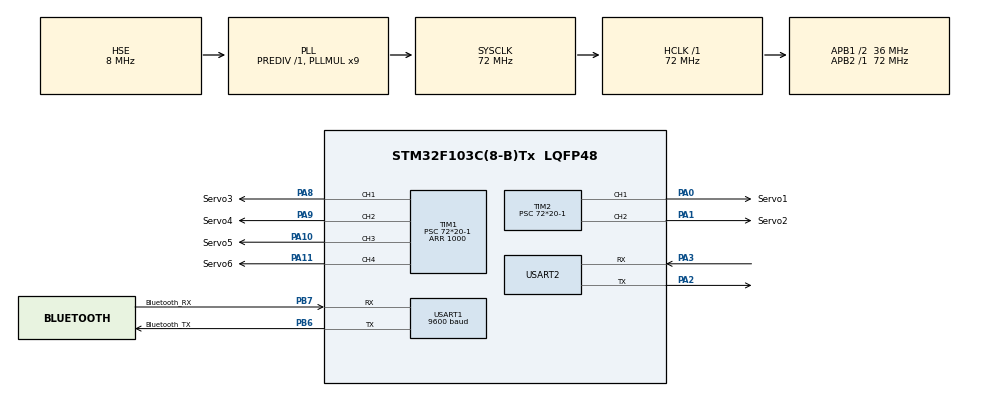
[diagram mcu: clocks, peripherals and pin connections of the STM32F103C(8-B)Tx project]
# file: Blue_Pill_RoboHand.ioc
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Mcu.Family=STM32F1
Mcu.Name=STM32F103C(8-B)Tx
Mcu.Package=LQFP48
NVIC.PriorityGroup=NVIC_PRIORITYGROUP_4
NVIC.TIM1_BRK_IRQn=true\:0\:0\:false\:false\:true\:true\:true\:true
NVIC.TIM1_CC_IRQn=true\:0\:0\:false\:false\:true\:true\:true\:true
NVIC.TIM1_TRG_COM_IRQn=true\:0\:0\:false\:false\:true\:true\:true\:true
NVIC.TIM1_UP_IRQn=true\:0\:0\:false\:false\:true\:true\:true\:true
NVIC.TIM2_IRQn=true\:0\:0\:false\:false\:true\:true\:true\:true
NVIC.TIM3_IRQn=true\:0\:0\:false\:false\:true\:true\:true\:true
NVIC.USART1_IRQn=true\:0\:0\:false\:false\:true\:true\:true\:true
PA0-WKUP.GPIO_Label=Servo1
PA0-WKUP.GPIO_Speed=GPIO_SPEED_FREQ_HIGH
PA0-WKUP.Signal=S_TIM2_CH1_ETR
PA1.GPIO_Label=Servo2
PA1.GPIO_Speed=GPIO_SPEED_FREQ_HIGH
PA1.Signal=S_TIM2_CH2
PA10.GPIO_Label=Servo5
PA10.GPIO_Speed=GPIO_SPEED_FREQ_HIGH
PA10.Signal=S_TIM1_CH3
PA11.GPIO_Label=Servo6
PA11.GPIO_Speed=GPIO_SPEED_FREQ_HIGH
PA11.Signal=S_TIM1_CH4
PA13.Mode=Serial_Wire
PA13.Signal=SYS_JTMS-SWDIO
PA14.Mode=Serial_Wire
PA14.Signal=SYS_JTCK-SWCLK
PA2.Mode=Asynchronous
PA2.Signal=USART2_TX
PA3.Mode=Asynchronous
PA3.Signal=USART2_RX
PA8.GPIO_Label=Servo3
PA8.GPIO_Speed=GPIO_SPEED_FREQ_HIGH
PA8.Signal=S_TIM1_CH1
PA9.GPIO_Label=Servo4
PA9.GPIO_Speed=GPIO_SPEED_FREQ_HIGH
PA9.Signal=S_TIM1_CH2
PB6.GPIO_Label=Bluetooth_TX
PB6.Mode=Asynchronous
PB6.Signal=USART1_TX
PB7.GPIO_Label=Bluetooth_RX
PB7.Mode=Asynchronous
PB7.Signal=USART1_RX
PC14-OSC32_IN.Mode=LSE-External-Oscillator
PC14-OSC32_IN.Signal=RCC_OSC32_IN
PC15-OSC32_OUT.Mode=LSE-External-Oscillator
PC15-OSC32_OUT.Signal=RCC_OSC32_OUT
PD0-OSC_IN.Mode=HSE-External-Oscillator
PD0-OSC_IN.Signal=RCC_OSC_IN
PD1-OSC_OUT.Mode=HSE-External-Oscillator
PD1-OSC_OUT.Signal=RCC_OSC_OUT
ProjectManager.HeapSize=0x200
ProjectManager.StackSize=0x400
ProjectManager.TargetToolchain=STM32CubeIDE
RCC.AHBFreq_Value=72000000
RCC.APB1CLKDivider=RCC_HCLK_DIV2
RCC.APB1Freq_Value=36000000
RCC.APB1TimFreq_Value=72000000
RCC.APB2Freq_Value=72000000
RCC.APB2TimFreq_Value=72000000
RCC.HCLKFreq_Value=72000000
RCC.PLLMUL=RCC_PLL_MUL9
RCC.PLLSourceVirtual=RCC_PLLSOURCE_HSE
RCC.SYSCLKFreq_VALUE=72000000
RCC.SYSCLKSource=RCC_SYSCLKSOURCE_PLLCLK
RCC.USBFreq_Value=72000000
SH.S_TIM1_CH1.0=TIM1_CH1,PWM Generation1 CH1
SH.S_TIM1_CH2.0=TIM1_CH2,PWM Generation2 CH2
SH.S_TIM1_CH3.0=TIM1_CH3,PWM Generation3 CH3
SH.S_TIM1_CH4.0=TIM1_CH4,PWM Generation4 CH4
SH.S_TIM2_CH1_ETR.0=TIM2_CH1,PWM Generation1 CH1
SH.S_TIM2_CH2.0=TIM2_CH2,PWM Generation2 CH2
TIM1.AutoReloadPreload=TIM_AUTORELOAD_PRELOAD_ENABLE
TIM1.Channel-PWM\ Generation1\ CH1=TIM_CHANNEL_1
TIM1.Channel-PWM\ Generation2\ CH2=TIM_CHANNEL_2
TIM1.Channel-PWM\ Generation3\ CH3=TIM_CHANNEL_3
TIM1.Channel-PWM\ Generation4\ CH4=TIM_CHANNEL_4
TIM1.OCFastMode_PWM-PWM\ Generation1\ CH1=TIM_OCFAST_ENABLE
TIM1.OCFastMode_PWM-PWM\ Generation2\ CH2=TIM_OCFAST_ENABLE
TIM1.OCFastMode_PWM-PWM\ Generation3\ CH3=TIM_OCFAST_ENABLE
TIM1.OCFastMode_PWM-PWM\ Generation4\ CH4=TIM_OCFAST_ENABLE
TIM1.Period=1000
TIM1.Prescaler=72*20-1
TIM1.Pulse-PWM\ Generation1\ CH1=500
TIM1.Pulse-PWM\ Generation2\ CH2=500
TIM1.Pulse-PWM\ Generation3\ CH3=500
TIM1.Pulse-PWM\ Generation4\ CH4=500
TIM2.AutoReloadPreload=TIM_AUTORELOAD_PRELOAD_ENABLE
TIM2.Channel-PWM\ Generation1\ CH1=TIM_CHANNEL_1
TIM2.Channel-PWM\ Generation2\ CH2=TIM_CHANNEL_2
TIM2.OCFastMode_PWM-PWM\ Generation1\ CH1=TIM_OCFAST_ENABLE
TIM2.OCFastMode_PWM-PWM\ Generation2\ CH2=TIM_OCFAST_ENABLE
TIM2.Period=1000
TIM2.Prescaler=72*20-1
TIM2.Pulse-PWM\ Generation1\ CH1=500
TIM2.Pulse-PWM\ Generation2\ CH2=500
TIM3.AutoReloadPreload=TIM_AUTORELOAD_PRELOAD_ENABLE
TIM3.ClockDivision=TIM_CLOCKDIVISION_DIV1
TIM3.Period=7200
TIM3.Prescaler=20000-1
USART1.BaudRate=9600
USART1.Mode=MODE_TX_RX
USART1.VirtualMode=VM_ASYNC
USART2.VirtualMode=VM_ASYNC
VP_TIM1_VS_ClockSourceINT.Mode=Internal
VP_TIM2_VS_ClockSourceINT.Mode=Internal
VP_TIM3_VS_ClockSourceINT.Mode=Internal
board=custom

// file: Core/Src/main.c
/* USER CODE BEGIN Header */
/**
  ******************************************************************************
  * @file           : main.c
  * @brief          : Main program body
  ******************************************************************************
  * @attention
  *
  * <h2><center>&copy; Copyright (c) 2022 STMicroelectronics.
  * All rights reserved.</center></h2>
  *
  * This software component is licensed by ST under BSD 3-Clause license,
  * the "License"; You may not use this file except in compliance with the
  * License. You may obtain a copy of the License at:
  *                        opensource.org/licenses/BSD-3-Clause
  *
  ******************************************************************************
  */
/* USER CODE END Header */
#include "main.h"

/* USER CODE BEGIN Includes */
#include "math.h"
#include <stdio.h>
/* USER CODE END Includes */

/* USER CODE BEGIN PTD */
struct angles
{
	double alpha;
	double beta;
	double delta;
	double gamma;
	double epsilon;
	double zeta;
};

struct axis
{
	double x;
	double y;
	double z;
};

struct vectors1
{
    double a1;
    double a2;
    double b1;
    double b2;
    double c1;
    double c2;
};

struct vectors2
{
    double a1;
    double a2;
    double b1;
    double b2;
};
/* USER CODE END PTD */

/* USER CODE BEGIN PD */
//                      CONSTANTS FOR CALCULATION
const double pi = 3.1415926536;
//                      CONSTANTS FOR CALCULATION ANGLES FOR FIRST CONFIGURATION
const double lever_1 = 100; // mm
const double lever_2 = 83; // mm
const double lever_3 = 170; // mm
//                      CONSTANTS FOR CALCULATION ANGLES FOR SECOND CONFIGURATION
const double lever_1_1 = lever_1 + lever_2;
const double lever_2_1 = lever_3;

//const double step_length             = 25; // mm
//const double rotate_step             = 15; // degree
const int max_angle                  = 160;
const int error_message 			 = -1;
const int minimum_smooth             = 45;

struct angles current_angles           = {103, 10, 90, 90, 2, 2};
struct axis current_axis               = {125, 0, 216};

uint8_t mode = 0; // 0-trapezoid, 1-triangle
uint8_t is_need_to_send = 0;
/* USER CODE END PD */

TIM_HandleTypeDef htim1;
TIM_HandleTypeDef htim2;
TIM_HandleTypeDef htim3;

UART_HandleTypeDef huart1;
UART_HandleTypeDef huart2;

/* USER CODE BEGIN PV */
#define BUFFER_RX_LEN  4
#define BUFFER_TX_LEN 22
uint8_t RX_BUFFER[BUFFER_RX_LEN] = {0, 0, 0, 0};
uint8_t TX_BUFFER[BUFFER_TX_LEN] = {0, 0, 0, 0, 0, 0, 0, 0, 0, 0, 0,
									0, 0, 0, 0, 0, 0, 0, 0, 0, 0, 0};
/* USER CODE END PV */

void SystemClock_Config(void);
static void MX_GPIO_Init(void);
static void MX_TIM1_Init(void);
static void MX_TIM2_Init(void);
static void MX_USART1_UART_Init(void);
static void MX_USART2_UART_Init(void);
static void MX_TIM3_Init(void);

/* USER CODE BEGIN 0 */
//                      FUNCTIONS FOR TRANSLATIING ANGLES AND VECTOR OPERATIONS
double convert_to_degree(double radians) {
    return radians * 180 / (pi);
}

double vector_scalar_multiplication(double x1, double x2, double y1, double y2) {
    return x1 * y1 + x2 * y2;
}

int pulseWidth(int angle) {
    return (int)((double)(angle)/1.8) + 25;
}

double RadToAng(double radian) {
    return radian * 180 / pi;
}

double AngToRad(double angle) {
  return angle * pi / 180;
}

void setServoAngles(struct angles ang) {
	htim2.Instance->CCR2 = pulseWidth(ang.alpha);
	htim1.Instance->CCR3 = pulseWidth(ang.beta);
	htim1.Instance->CCR2 = pulseWidth(ang.delta);
	htim1.Instance->CCR4 = pulseWidth(ang.gamma);
	htim1.Instance->CCR1 = pulseWidth(ang.epsilon);
	htim2.Instance->CCR1 = pulseWidth(ang.zeta);
}

struct angles find_angles(double x, double y, double z)
{
	struct vectors2 levers = {0, 0, 0, 0};
	struct angles rotation = {0, 0, 0, 0, 0, 0};
	double radius_xy = sqrt(pow(x, 2) + pow(y, 2));
	double radius = sqrt(pow(x, 2) + pow(y, 2) + pow(z, 2));
	rotation.beta = 7;
	if (radius_xy != 0) {
		levers.a1 = -(radius - (pow(radius, 2) + pow(lever_2_1, 2) - pow(lever_1_1, 2)) / (2 * radius));
		levers.a2 = sqrt(pow(lever_1_1, 2) - pow(levers.a1, 2));
		levers.b1 = -(pow(radius, 2) + pow(lever_2_1, 2) - pow(lever_1_1, 2)) / (2 * radius);
		levers.b2 = -(sqrt(pow(lever_2_1, 2) - pow(levers.b1, 2)));
		rotation.delta = convert_to_degree(acos(-vector_scalar_multiplication(
			levers.b1, levers.b2, levers.a1, levers.a2) / (lever_1_1 * lever_2_1)));
		rotation.alpha = convert_to_degree(acos(-levers.a1 / lever_1_1));
		if (radius_xy != 0) {
			rotation.alpha += convert_to_degree(atan(z / radius_xy));
		} else {
			rotation.alpha += 90;
		}
	}
	else {
		rotation.alpha = -1;
		rotation.beta = -1;
		rotation.delta = -1;
		rotation.zeta = -1;
	}
	return rotation;
}

struct angles find_angles_2(double x, double y, double z)
{
	struct vectors1 levers = { 0, 0, 0, 0, 0, 0 };
	    struct angles rotation = { 0, 0, 0, 0, 0, 0 };
	    double radius_xy = sqrt(pow(x, 2) + pow(y, 2));
	    double radius = sqrt(pow(x, 2) + pow(y, 2) + pow(z, 2));
	    double L = lever_2 - radius;
	    levers.a1 = -(pow(lever_3, 2) - pow(lever_1, 2) - pow(L, 2)) / (2 * L);
	    levers.a2 = sqrt(pow(lever_1, 2) - pow(levers.a1, 2));
	    levers.b1 = -lever_2;
	    levers.b2 = 0;
	    levers.c1 = -sqrt(pow(lever_3, 2) - pow(levers.a2, 2));
	    levers.c2 = -levers.a2;
	    rotation.beta = 180 - convert_to_degree(acos(-vector_scalar_multiplication(
	        levers.a1, levers.a2, levers.b1, levers.b2) / (lever_1 * lever_2)));
	    rotation.delta = convert_to_degree(acos(-vector_scalar_multiplication(
	        levers.c1, levers.c2, levers.b1, levers.b2) / (lever_2 * lever_3)));
	    rotation.alpha = convert_to_degree(acos(-levers.a1 / lever_1));
	    if (radius_xy != 0) {
			rotation.alpha += convert_to_degree(atan(z / radius_xy));
		} else {
			rotation.alpha += 90;
		}
	    return rotation;
}

// calculating angles for servos to being parallel second lever to main diagonal
struct angles calculateAngles(struct axis calculating_axis, int state)
{
	struct angles calculated_angles;
	if (!state) {
		calculated_angles = find_angles_2(calculating_axis.x, calculating_axis.y, calculating_axis.z);
		if ((!isnormal(calculated_angles.delta)) || (!isnormal(calculated_angles.beta)) ||
				(!isnormal(calculated_angles.alpha)) || (calculated_angles.alpha > 180) ||
				(calculated_angles.beta > 180) || (calculated_angles.delta > 180)) {
			calculated_angles.alpha = error_message;
			calculated_angles.beta = error_message;
			calculated_angles.delta = error_message;
		}
	} else if (state==1) {
		calculated_angles = find_angles(calculating_axis.x, calculating_axis.y, calculating_axis.z);
		if ((!isnormal(calculated_angles.delta)) || (!isnormal(calculated_angles.beta)) ||
				(!isnormal(calculated_angles.alpha)) || (calculated_angles.alpha > 180) ||
				(calculated_angles.beta > 180) || (calculated_angles.delta > 180)) {
			calculated_angles.alpha = error_message;
			calculated_angles.beta = error_message;
			calculated_angles.delta = error_message;
		}
	} else {
		calculated_angles.alpha = error_message;
		calculated_angles.beta = error_message;
		calculated_angles.delta = error_message;
	}
	if (calculating_axis.x != 0) {
		double lower_base_rotation_angle = convert_to_degree(atan(calculating_axis.y / calculating_axis.x));
		if (calculating_axis.x >= 0 && calculating_axis.y >= 0) {
			calculated_angles.zeta = lower_base_rotation_angle;
		}
		else if (calculating_axis.x < 0 && calculating_axis.y >= 0) {
			calculated_angles.zeta = 180 + lower_base_rotation_angle;
		}
		else if (calculating_axis.x < 0 && calculating_axis.y < 0) {
			calculated_angles.zeta = 180 + lower_base_rotation_angle;
		}
		else {
			calculated_angles.zeta = error_message;
		}
	}
	else {
		if (calculating_axis.y > 0) {
			calculated_angles.zeta = 90;
		}
		else if (calculating_axis.y < 0){
			calculated_angles.zeta = error_message;
		}
	}
	return calculated_angles;
}

void HAL_UART_RxCpltCallback(UART_HandleTypeDef *huart)
{
    if(huart->Instance == huart1.Instance) {
    	HAL_UART_Receive_IT(&huart1, RX_BUFFER, BUFFER_RX_LEN);
    	uint8_t must = 0;
		struct axis possible_axis = current_axis;
		struct angles possible_angles;

		double step_length = 10; double rotate_step = 10;
		if (RX_BUFFER[1]>='0' && RX_BUFFER[1]<='9' && RX_BUFFER[2]>='0' && RX_BUFFER[2]<='9' &&
				RX_BUFFER[3]>='0' && RX_BUFFER[3]<='9') {
			step_length = (int)(RX_BUFFER[1] - '0')*100 + (int)(RX_BUFFER[2] - '0')*10 + (int)(RX_BUFFER[3] - '0');
			rotate_step = (step_length/250)*180;
		}
		switch (RX_BUFFER[0]) {
			case '1':
				possible_axis.x += step_length;
				must = 1;
				break;
			case '2':
				possible_axis.x -= step_length;
				must = 1;
				break;
			case '3':
				possible_axis.y += step_length;
				must = 1;
				break;
			case '4':
				possible_axis.y -= step_length;
				must = 1;
				break;
			case '5':
				possible_axis.z += step_length;
				must = 1;
				break;
			case '6':
				possible_axis.z -= step_length;
				must = 1;
				break;
			case '7':
				if (current_angles.epsilon + rotate_step <= max_angle) {
					current_angles.epsilon += rotate_step;
				}
				break;
			case '8':
				if (current_angles.epsilon >= rotate_step) {
					current_angles.epsilon -= rotate_step;
				}
				break;
			case '9':
				if (current_angles.gamma + rotate_step <= max_angle) {
					current_angles.gamma += rotate_step;
				}
				break;
			case 'a':
				if (current_angles.gamma >= rotate_step) {
					current_angles.gamma -= rotate_step;
				}
				break;
			case '!':
				possible_axis.x = step_length;
				must = 1;
				break;
			case '@':
				possible_axis.x = -step_length;
				must = 1;
				break;
			case '#':
				possible_axis.y = step_length;
				must = 1;
				break;
			case '$':
				possible_axis.y = -step_length;
				must = 1;
				break;
			case '?':
				possible_axis.z = step_length;
				must = 1;
				break;
			case '^':
				possible_axis.z = -step_length;
				must = 1;
				break;
			case '&':
				if (step_length <= max_angle && step_length >= 0) {
					current_angles.epsilon = step_length;
				}
				break;
			case '(':
				if (step_length <= max_angle && step_length >= 0) {
					current_angles.gamma = step_length;
				}
				break;
			case 'b':
				mode = 0;
				break;
			case 'c':
				mode = 1;
				break;

		}
		if (must) {
			possible_angles = calculateAngles(possible_axis, mode);
			if ((possible_angles.alpha >= 0) && (possible_angles.beta >= 0) && (possible_angles.delta >= 0) && (possible_angles.zeta >= 0)) {
				double saved_gamma = current_angles.gamma;
				double saved_epsilon = current_angles.epsilon;
				current_axis = possible_axis;
				current_angles = possible_angles;
				current_angles.gamma = saved_gamma;
				current_angles.epsilon = saved_epsilon;
			}
		}
    }
}

void HAL_TIM_PeriodElapsedCallback(TIM_HandleTypeDef* htim) {
	if(htim->Instance == htim3.Instance) {
		is_need_to_send = 1;
	}
}

/* USER CODE END 0 */

int main(void)
{

  /* MCU Configuration--------------------------------------------------------*/

  /* Reset of all peripherals, Initializes the Flash interface and the Systick. */
  HAL_Init();

  /* Configure the system clock */
  SystemClock_Config();

  /* Initialize all configured peripherals */
  MX_GPIO_Init();
  MX_TIM1_Init();
  MX_TIM2_Init();
  MX_USART1_UART_Init();
  MX_USART2_UART_Init();
  MX_TIM3_Init();
  /* USER CODE BEGIN 2 */
  HAL_TIM_PWM_Start(&htim1,TIM_CHANNEL_1);
  HAL_TIM_PWM_Start(&htim1,TIM_CHANNEL_2);
  HAL_TIM_PWM_Start(&htim1,TIM_CHANNEL_3);
  HAL_TIM_PWM_Start(&htim1,TIM_CHANNEL_4);
  HAL_TIM_PWM_Start(&htim2,TIM_CHANNEL_1);
  HAL_TIM_PWM_Start(&htim2,TIM_CHANNEL_2);
  HAL_TIM_Base_Start_IT(&htim3);
  HAL_UART_Receive_IT(&huart1, RX_BUFFER, BUFFER_RX_LEN);
  /* USER CODE END 2 */

  /* Infinite loop */
  /* USER CODE BEGIN WHILE */
  while (1)
  {
	setServoAngles(current_angles);
	if (is_need_to_send == 1) {
		sprintf (TX_BUFFER, "%d:%d:%d:%d:%d\r\n", (int)(current_axis.x), (int)(current_axis.y),
			(int)(current_axis.z), (int)(current_angles.epsilon), (int)(current_angles.gamma));
		HAL_UART_Transmit(&huart1, TX_BUFFER, BUFFER_TX_LEN, 100);
		HAL_Delay(10);
		sprintf(TX_BUFFER, "\n");
		is_need_to_send = 0;
	}
    /* USER CODE END WHILE */

  }
}

void SystemClock_Config(void)
{
  RCC_OscInitTypeDef RCC_OscInitStruct = {0};
  RCC_ClkInitTypeDef RCC_ClkInitStruct = {0};

  /** Initializes the RCC Oscillators according to the specified parameters
  * in the RCC_OscInitTypeDef structure.
  */
  RCC_OscInitStruct.OscillatorType = RCC_OSCILLATORTYPE_HSE;
  RCC_OscInitStruct.HSEState = RCC_HSE_ON;
  RCC_OscInitStruct.HSEPredivValue = RCC_HSE_PREDIV_DIV1;
  RCC_OscInitStruct.HSIState = RCC_HSI_ON;
  RCC_OscInitStruct.PLL.PLLState = RCC_PLL_ON;
  RCC_OscInitStruct.PLL.PLLSource = RCC_PLLSOURCE_HSE;
  RCC_OscInitStruct.PLL.PLLMUL = RCC_PLL_MUL9;
  if (HAL_RCC_OscConfig(&RCC_OscInitStruct) != HAL_OK)
  {
    Error_Handler();
  }

  /** Initializes the CPU, AHB and APB buses clocks
  */
  RCC_ClkInitStruct.ClockType = RCC_CLOCKTYPE_HCLK|RCC_CLOCKTYPE_SYSCLK
                              |RCC_CLOCKTYPE_PCLK1|RCC_CLOCKTYPE_PCLK2;
  RCC_ClkInitStruct.SYSCLKSource = RCC_SYSCLKSOURCE_PLLCLK;
  RCC_ClkInitStruct.AHBCLKDivider = RCC_SYSCLK_DIV1;
  RCC_ClkInitStruct.APB1CLKDivider = RCC_HCLK_DIV2;
  RCC_ClkInitStruct.APB2CLKDivider = RCC_HCLK_DIV1;

  if (HAL_RCC_ClockConfig(&RCC_ClkInitStruct, FLASH_LATENCY_2) != HAL_OK)
  {
    Error_Handler();
  }
}

static void MX_TIM1_Init(void)
{

  TIM_ClockConfigTypeDef sClockSourceConfig = {0};
  TIM_MasterConfigTypeDef sMasterConfig = {0};
  TIM_OC_InitTypeDef sConfigOC = {0};
  TIM_BreakDeadTimeConfigTypeDef sBreakDeadTimeConfig = {0};

  htim1.Instance = TIM1;
  htim1.Init.Prescaler = 72*20-1;
  htim1.Init.CounterMode = TIM_COUNTERMODE_UP;
  htim1.Init.Period = 1000;
  htim1.Init.ClockDivision = TIM_CLOCKDIVISION_DIV1;
  htim1.Init.RepetitionCounter = 0;
  htim1.Init.AutoReloadPreload = TIM_AUTORELOAD_PRELOAD_ENABLE;
  if (HAL_TIM_Base_Init(&htim1) != HAL_OK)
  {
    Error_Handler();
  }
  sClockSourceConfig.ClockSource = TIM_CLOCKSOURCE_INTERNAL;
  if (HAL_TIM_ConfigClockSource(&htim1, &sClockSourceConfig) != HAL_OK)
  {
    Error_Handler();
  }
  if (HAL_TIM_PWM_Init(&htim1) != HAL_OK)
  {
    Error_Handler();
  }
  sMasterConfig.MasterOutputTrigger = TIM_TRGO_RESET;
  sMasterConfig.MasterSlaveMode = TIM_MASTERSLAVEMODE_DISABLE;
  if (HAL_TIMEx_MasterConfigSynchronization(&htim1, &sMasterConfig) != HAL_OK)
  {
    Error_Handler();
  }
  sConfigOC.OCMode = TIM_OCMODE_PWM1;
  sConfigOC.Pulse = 500;
  sConfigOC.OCPolarity = TIM_OCPOLARITY_HIGH;
  sConfigOC.OCNPolarity = TIM_OCNPOLARITY_HIGH;
  sConfigOC.OCFastMode = TIM_OCFAST_ENABLE;
  sConfigOC.OCIdleState = TIM_OCIDLESTATE_RESET;
  sConfigOC.OCNIdleState = TIM_OCNIDLESTATE_RESET;
  if (HAL_TIM_PWM_ConfigChannel(&htim1, &sConfigOC, TIM_CHANNEL_1) != HAL_OK)
  {
    Error_Handler();
  }
  if (HAL_TIM_PWM_ConfigChannel(&htim1, &sConfigOC, TIM_CHANNEL_2) != HAL_OK)
  {
    Error_Handler();
  }
  if (HAL_TIM_PWM_ConfigChannel(&htim1, &sConfigOC, TIM_CHANNEL_3) != HAL_OK)
  {
    Error_Handler();
  }
  if (HAL_TIM_PWM_ConfigChannel(&htim1, &sConfigOC, TIM_CHANNEL_4) != HAL_OK)
  {
    Error_Handler();
  }
  sBreakDeadTimeConfig.OffStateRunMode = TIM_OSSR_DISABLE;
  sBreakDeadTimeConfig.OffStateIDLEMode = TIM_OSSI_DISABLE;
  sBreakDeadTimeConfig.LockLevel = TIM_LOCKLEVEL_OFF;
  sBreakDeadTimeConfig.DeadTime = 0;
  sBreakDeadTimeConfig.BreakState = TIM_BREAK_DISABLE;
  sBreakDeadTimeConfig.BreakPolarity = TIM_BREAKPOLARITY_HIGH;
  sBreakDeadTimeConfig.AutomaticOutput = TIM_AUTOMATICOUTPUT_DISABLE;
  if (HAL_TIMEx_ConfigBreakDeadTime(&htim1, &sBreakDeadTimeConfig) != HAL_OK)
  {
    Error_Handler();
  }
  HAL_TIM_MspPostInit(&htim1);

}

static void MX_TIM2_Init(void)
{

  TIM_ClockConfigTypeDef sClockSourceConfig = {0};
  TIM_MasterConfigTypeDef sMasterConfig = {0};
  TIM_OC_InitTypeDef sConfigOC = {0};

  htim2.Instance = TIM2;
  htim2.Init.Prescaler = 72*20-1;
  htim2.Init.CounterMode = TIM_COUNTERMODE_UP;
  htim2.Init.Period = 1000;
  htim2.Init.ClockDivision = TIM_CLOCKDIVISION_DIV1;
  htim2.Init.AutoReloadPreload = TIM_AUTORELOAD_PRELOAD_ENABLE;
  if (HAL_TIM_Base_Init(&htim2) != HAL_OK)
  {
    Error_Handler();
  }
  sClockSourceConfig.ClockSource = TIM_CLOCKSOURCE_INTERNAL;
  if (HAL_TIM_ConfigClockSource(&htim2, &sClockSourceConfig) != HAL_OK)
  {
    Error_Handler();
  }
  if (HAL_TIM_PWM_Init(&htim2) != HAL_OK)
  {
    Error_Handler();
  }
  sMasterConfig.MasterOutputTrigger = TIM_TRGO_RESET;
  sMasterConfig.MasterSlaveMode = TIM_MASTERSLAVEMODE_DISABLE;
  if (HAL_TIMEx_MasterConfigSynchronization(&htim2, &sMasterConfig) != HAL_OK)
  {
    Error_Handler();
  }
  sConfigOC.OCMode = TIM_OCMODE_PWM1;
  sConfigOC.Pulse = 500;
  sConfigOC.OCPolarity = TIM_OCPOLARITY_HIGH;
  sConfigOC.OCFastMode = TIM_OCFAST_ENABLE;
  if (HAL_TIM_PWM_ConfigChannel(&htim2, &sConfigOC, TIM_CHANNEL_1) != HAL_OK)
  {
    Error_Handler();
  }
  if (HAL_TIM_PWM_ConfigChannel(&htim2, &sConfigOC, TIM_CHANNEL_2) != HAL_OK)
  {
    Error_Handler();
  }
  HAL_TIM_MspPostInit(&htim2);

}

static void MX_TIM3_Init(void)
{

  TIM_ClockConfigTypeDef sClockSourceConfig = {0};
  TIM_MasterConfigTypeDef sMasterConfig = {0};

  htim3.Instance = TIM3;
  htim3.Init.Prescaler = 20000-1;
  htim3.Init.CounterMode = TIM_COUNTERMODE_UP;
  htim3.Init.Period = 7200;
  htim3.Init.ClockDivision = TIM_CLOCKDIVISION_DIV1;
  htim3.Init.AutoReloadPreload = TIM_AUTORELOAD_PRELOAD_ENABLE;
  if (HAL_TIM_Base_Init(&htim3) != HAL_OK)
  {
    Error_Handler();
  }
  sClockSourceConfig.ClockSource = TIM_CLOCKSOURCE_INTERNAL;
  if (HAL_TIM_ConfigClockSource(&htim3, &sClockSourceConfig) != HAL_OK)
  {
    Error_Handler();
  }
  sMasterConfig.MasterOutputTrigger = TIM_TRGO_RESET;
  sMasterConfig.MasterSlaveMode = TIM_MASTERSLAVEMODE_DISABLE;
  if (HAL_TIMEx_MasterConfigSynchronization(&htim3, &sMasterConfig) != HAL_OK)
  {
    Error_Handler();
  }

}

static void MX_USART1_UART_Init(void)
{

  huart1.Instance = USART1;
  huart1.Init.BaudRate = 9600;
  huart1.Init.WordLength = UART_WORDLENGTH_8B;
  huart1.Init.StopBits = UART_STOPBITS_1;
  huart1.Init.Parity = UART_PARITY_NONE;
  huart1.Init.Mode = UART_MODE_TX_RX;
  huart1.Init.HwFlowCtl = UART_HWCONTROL_NONE;
  huart1.Init.OverSampling = UART_OVERSAMPLING_16;
  if (HAL_UART_Init(&huart1) != HAL_OK)
  {
    Error_Handler();
  }

}

static void MX_USART2_UART_Init(void)
{

  huart2.Instance = USART2;
  huart2.Init.BaudRate = 115200;
  huart2.Init.WordLength = UART_WORDLENGTH_8B;
  huart2.Init.StopBits = UART_STOPBITS_1;
  huart2.Init.Parity = UART_PARITY_NONE;
  huart2.Init.Mode = UART_MODE_TX_RX;
  huart2.Init.HwFlowCtl = UART_HWCONTROL_NONE;
  huart2.Init.OverSampling = UART_OVERSAMPLING_16;
  if (HAL_UART_Init(&huart2) != HAL_OK)
  {
    Error_Handler();
  }

}

static void MX_GPIO_Init(void)
{

  /* GPIO Ports Clock Enable */
  __HAL_RCC_GPIOC_CLK_ENABLE();
  __HAL_RCC_GPIOD_CLK_ENABLE();
  __HAL_RCC_GPIOA_CLK_ENABLE();
  __HAL_RCC_GPIOB_CLK_ENABLE();

}

void Error_Handler(void)
{
  __disable_irq();
  while (1)
  {
  }
}
